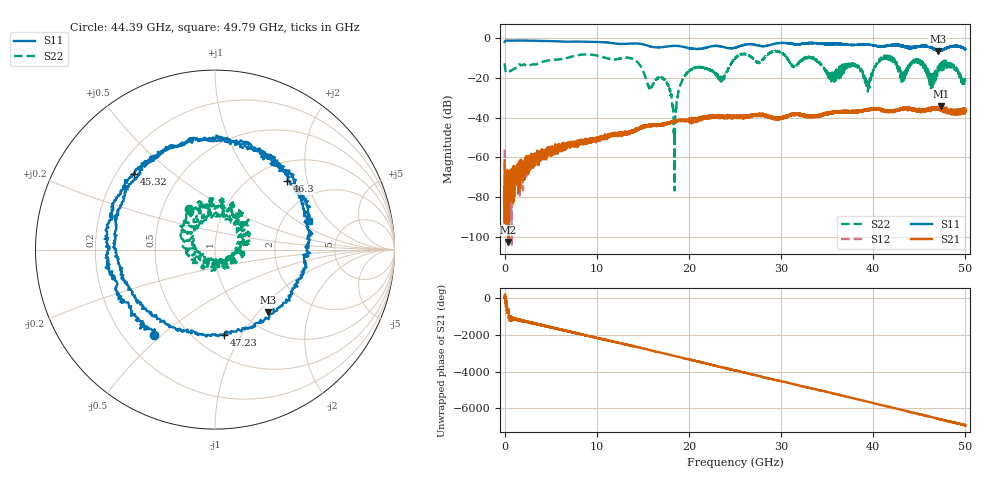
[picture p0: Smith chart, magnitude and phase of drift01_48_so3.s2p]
!Created with skrf (http://scikit-rf.org).
# Hz S RI R 50.0
!freq ReS11 ImS11 ReS21 ImS21 ReS12 ImS12 ReS22 ImS22
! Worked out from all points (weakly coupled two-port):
!   10001 points, 300 kHz to 50 GHz, reference 50 ohm
!   highest |S21| = -34.45 dB at 47.36 GHz (marker M1); lowest = -102.4 dB at 415.3 MHz (marker M2)
!   lowest |S11| = -6.8 dB at 47.01 GHz (marker M3), VSWR 2.70, Z = 63.9 - j56.7 ohm
!   |S11| at or under -10 dB: nowhere
!   |S22| runs from -76.6 to -6.6 dB; largest |S21 - S12| = 0.0042
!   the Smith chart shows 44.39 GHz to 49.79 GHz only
!   S11 on the Smith chart (normalised r, x): 44.39 GHz: 0.33, -0.47; 45.32 GHz: 0.27, +0.37; 46.3 GHz: 1.38, +1.52; 47.23 GHz: 0.68, -0.84; 49.79 GHz: 2.78, +1.27
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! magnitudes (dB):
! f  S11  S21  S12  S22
! 300 kHz  -2.1  -61.4  -55.9  -12.8
! 415.3 MHz  -1.4  -102.4  -76.6  -17.1
! 8.335 GHz  -1.9  -52.6  -52.6  -8.5
! 16.67 GHz  -4.9  -44.0  -43.9  -20.0
! 17.74 GHz  -4.4  -42.8  -42.7  -23.6
! 18.42 GHz  -4.1  -42.0  -41.8  -50.3
! 19.9 GHz  -5.1  -41.7  -41.4  -17.2
! 23.59 GHz  -4.5  -39.6  -39.6  -19.9
! 25 GHz  -5.0  -39.5  -39.8  -10.6
! 33.34 GHz  -2.6  -39.6  -39.4  -9.9
! 38.14 GHz  -3.6  -37.1  -37.1  -14.0
! 39.35 GHz  -3.3  -36.1  -36.2  -22.3
! 41.67 GHz  -3.9  -37.0  -36.9  -9.8
! 43.17 GHz  -4.2  -35.6  -35.7  -18.0
! 44.39 GHz  -4.7  -35.6  -35.8  -11.4
! 45.32 GHz  -4.2  -36.7  -36.5  -13.6
! 46.3 GHz  -5.1  -35.7  -35.3  -22.3
! 47.01 GHz  -6.8  -35.7  -35.5  -14.6
! 47.23 GHz  -6.4  -35.2  -35.5  -15.1
! 47.36 GHz  -6.3  -34.4  -35.6  -13.2
! 49.79 GHz  -5.2  -36.1  -37.4  -21.8
! 50 GHz  -5.6  -36.6  -36.6  -21.9
